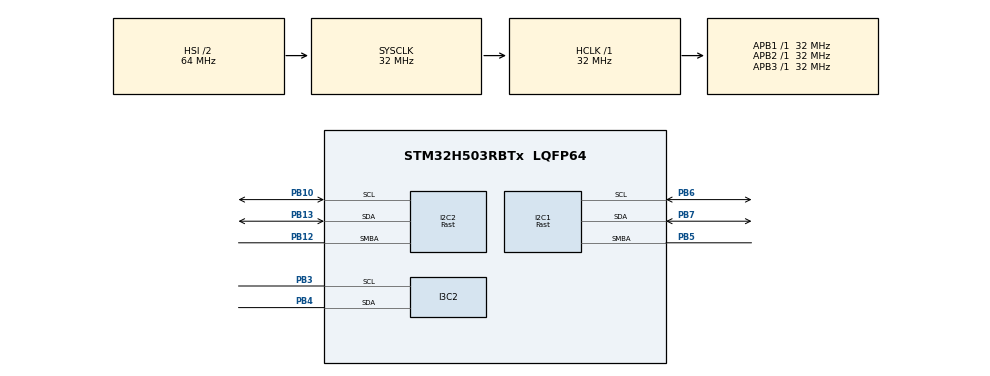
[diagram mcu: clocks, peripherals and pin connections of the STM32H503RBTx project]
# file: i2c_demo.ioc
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BOOTPATH.BootPathName=LEGACY
BOOTPATH.UserSelectedBootPath=LEGACY
I2C1.I2C_Speed_Mode=I2C_Fast
I2C1.Timeout=0x00008186
I2C1.Timing=0x00300F38
I2C2.I2C_Speed_Mode=I2C_Fast
I2C2.Timeout=0x00008186
I2C2.Timing=0x00300F38
I3C2.BusFreeDuration=484
I3C2.Register0=0x000f090f
I3C2.Register1=0x0006001e
I3C2.SCLI3CHighDuration=0x09
I3C2.SCLODLowDuration=0x0f
I3C2.SCLPPLowDuration=0x0f
I3C2.SCL_OD_Freq=1231
I3C2.SCL_PP_Freq=1231
I3C2.hexBusFreeDuration=0x06
I3C2.hexBusIdleDuration=0x1e
Mcu.Family=STM32H5
Mcu.Name=STM32H503RBTx
Mcu.Package=LQFP64
NVIC.I2C1_ER_IRQn=true\:0\:0\:false\:false\:true\:true\:true\:true
NVIC.I2C1_EV_IRQn=true\:0\:0\:false\:false\:true\:true\:true\:true
NVIC.I2C2_ER_IRQn=true\:0\:0\:false\:false\:true\:true\:true\:true
NVIC.I2C2_EV_IRQn=true\:0\:0\:false\:false\:true\:true\:true\:true
NVIC.PriorityGroup=NVIC_PRIORITYGROUP_4
PB10.Mode=SMBus-Alert-mode
PB10.Signal=I2C2_SCL
PB12.Mode=SMBus-Alert-mode
PB12.Signal=I2C2_SMBA
PB13.Mode=SMBus-Alert-mode
PB13.Signal=I2C2_SDA
PB3(JTDO/TRACESWO).Mode=Controller
PB3(JTDO/TRACESWO).Signal=I3C2_SCL
PB4(NJTRST).Mode=Controller
PB4(NJTRST).Signal=I3C2_SDA
PB5.Mode=SMBus-Alert-mode
PB5.Signal=I2C1_SMBA
PB6.Mode=SMBus-Alert-mode
PB6.Signal=I2C1_SCL
PB7.Mode=SMBus-Alert-mode
PB7.Signal=I2C1_SDA
ProjectManager.HeapSize=0x200
ProjectManager.StackSize=0x400
ProjectManager.TargetToolchain=CMake
RCC.ADCFreq_Value=32000000
RCC.AHBFreq_Value=32000000
RCC.APB1Freq_Value=32000000
RCC.APB1TimFreq_Value=32000000
RCC.APB2Freq_Value=32000000
RCC.APB2TimFreq_Value=32000000
RCC.APB3Freq_Value=32000000
RCC.CSI_VALUE=4000000
RCC.CortexFreq_Value=32000000
RCC.EPOD_VALUE=4000000
RCC.HCLKFreq_Value=32000000
RCC.HSE_VALUE=25000000
RCC.HSI48_VALUE=48000000
RCC.HSI_VALUE=64000000
RCC.LSE_VALUE=32768
RCC.LSIRC_VALUE=32000
RCC.SYSCLKFreq_VALUE=32000000
RCC.USBFreq_Value=48000000
RCC.VCOOutputFreq_Value=516000000
VP_BOOTPATH_VS_BOOTPATH.Mode=BP_Activate
VP_CORTEX_M33_NS_VS_Hclk.Mode=Hclk_Mode
VP_ICACHE_VS_ICACHE.Mode=DefaultMode
VP_MEMORYMAP_VS_MEMORYMAP.Mode=CurAppReg
VP_PWR_VS_LPOM.Mode=PowerOptimisation
VP_PWR_VS_SECSignals.Mode=Security/Privilege
board=custom

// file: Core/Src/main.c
/* USER CODE BEGIN Header */
/**
  ******************************************************************************
  * @file           : main.c
  * @brief          : Main program body
  ******************************************************************************
  * @attention
  *
  * Copyright (c) 2026 STMicroelectronics.
  * All rights reserved.
  *
  * This software is licensed under terms that can be found in the LICENSE file
  * in the root directory of this software component.
  * If no LICENSE file comes with this software, it is provided AS-IS.
  *
  ******************************************************************************
  */
/* USER CODE END Header */
#include "main.h"

/* USER CODE BEGIN Includes */
#include "INA238.h"
#include "INA260.h"
#include "stm32h5xx_hal.h"
#include "stm32h5xx_hal_dma.h"
#include <stdint.h>
/* USER CODE END Includes */

SMBUS_HandleTypeDef hsmbus1;
SMBUS_HandleTypeDef hsmbus2;

I3C_HandleTypeDef hi3c2;

void SystemClock_Config(void);
static void MX_GPIO_Init(void);
static void MX_I2C1_SMBUS_Init(void);
static void MX_I2C2_SMBUS_Init(void);
static void MX_I3C2_Init(void);
static void MX_ICACHE_Init(void);

/* USER CODE BEGIN 0 */

/* I2C1上INA238设备数量 */
#define I2C1_INA238_NUM 13
/* I2C2上INA238设备数量 */
#define I2C2_INA238_NUM 13

/* 数据缓冲区 */
// 存储INA260设备的数据
static INA260_DataTypeDef ina260_data;
// 存储I2C1和I2C2所有INA238设备的数据
static INA238_DataTypeDef ina238_data1[I2C1_INA238_NUM];
static INA238_DataTypeDef ina238_data2[I2C2_INA238_NUM];

/* 设备地址列表 */
const uint8_t i2c1_dev_addrs[I2C1_INA238_NUM] = {0x40, 0x41, 0x42, 0x43, 0x44,
						 0x45, 0x46, 0x47, 0x48, 0x49,
						 0x4A, 0x4B, 0x4C
						};
const uint8_t i2c2_dev_addrs[I2C2_INA238_NUM] = {0x40, 0x41, 0x42, 0x43, 0x45,
						 0x46, 0x47, 0x48, 0x49, 0x4A,
						 0x4B, 0x4C, 0x4D
						};

/* USER CODE END 0 */

int main(void)
{

	/* MCU Configuration--------------------------------------------------------*/

	/* Reset of all peripherals, Initializes the Flash interface and the Systick. */
	HAL_Init();

	/* Configure the system clock */
	SystemClock_Config();

	/* Initialize all configured peripherals */
	MX_GPIO_Init();
	MX_I2C1_SMBUS_Init();
	MX_I2C2_SMBUS_Init();
	MX_I3C2_Init();
	MX_ICACHE_Init();
	/* USER CODE BEGIN 2 */

	HAL_Delay(2);
	// INA260初始化
	INA260_Init(&hsmbus2, INA260_DEV_ADDR);

	// INA238初始化
	for (uint8_t i = 0; i < I2C1_INA238_NUM; i++) {
		/* 每个设备独立初始化 */
		INA238_Init(&hsmbus1, i2c1_dev_addrs[i], R_SHUNT, MAX_CURRENT);
	}

	for (uint8_t i = 0; i < I2C2_INA238_NUM; i++) {
		/* 每个设备独立初始化 */
		INA238_Init(&hsmbus2, i2c2_dev_addrs[i], R_SHUNT, MAX_CURRENT);
	}

	/* 等待配置生效 */
	HAL_Delay(5);

	/* USER CODE END 2 */

	/* Infinite loop */
	while (1) {

		/* USER CODE BEGIN 3 */

		/* 读取 I2C1 上的INA238设备 */
		INA238_ReadBusDevices(&hsmbus1, i2c1_dev_addrs, I2C1_INA238_NUM,
				      ina238_data1, R_SHUNT, MAX_CURRENT);
		/* 读取 I2C2 上的INA238设备 */
		INA238_ReadBusDevices(&hsmbus2, i2c2_dev_addrs, I2C2_INA238_NUM,
				      ina238_data2, R_SHUNT, MAX_CURRENT);
		/* 读取 INA260个设备 */
		INA260_ReadAllData(&hsmbus2, INA260_DEV_ADDR, &ina260_data);
		HAL_Delay(500);
	}

	/* USER CODE END 3 */
}

void SystemClock_Config(void)
{
	RCC_OscInitTypeDef RCC_OscInitStruct = {0};
	RCC_ClkInitTypeDef RCC_ClkInitStruct = {0};

	/** Configure the main internal regulator output voltage
	*/
	__HAL_PWR_VOLTAGESCALING_CONFIG(PWR_REGULATOR_VOLTAGE_SCALE3);

	while (!__HAL_PWR_GET_FLAG(PWR_FLAG_VOSRDY)) {}

	/** Initializes the RCC Oscillators according to the specified parameters
	* in the RCC_OscInitTypeDef structure.
	*/
	RCC_OscInitStruct.OscillatorType = RCC_OSCILLATORTYPE_HSI;
	RCC_OscInitStruct.HSIState = RCC_HSI_ON;
	RCC_OscInitStruct.HSIDiv = RCC_HSI_DIV2;
	RCC_OscInitStruct.HSICalibrationValue = RCC_HSICALIBRATION_DEFAULT;
	RCC_OscInitStruct.PLL.PLLState = RCC_PLL_NONE;

	if (HAL_RCC_OscConfig(&RCC_OscInitStruct) != HAL_OK)
		Error_Handler();

	/** Initializes the CPU, AHB and APB buses clocks
	*/
	RCC_ClkInitStruct.ClockType = RCC_CLOCKTYPE_HCLK | RCC_CLOCKTYPE_SYSCLK
				      | RCC_CLOCKTYPE_PCLK1 | RCC_CLOCKTYPE_PCLK2
				      | RCC_CLOCKTYPE_PCLK3;
	RCC_ClkInitStruct.SYSCLKSource = RCC_SYSCLKSOURCE_HSI;
	RCC_ClkInitStruct.AHBCLKDivider = RCC_SYSCLK_DIV1;
	RCC_ClkInitStruct.APB1CLKDivider = RCC_HCLK_DIV1;
	RCC_ClkInitStruct.APB2CLKDivider = RCC_HCLK_DIV1;
	RCC_ClkInitStruct.APB3CLKDivider = RCC_HCLK_DIV1;

	if (HAL_RCC_ClockConfig(&RCC_ClkInitStruct, FLASH_LATENCY_1) != HAL_OK)
		Error_Handler();

	/** Configure the programming delay
	*/
	__HAL_FLASH_SET_PROGRAM_DELAY(FLASH_PROGRAMMING_DELAY_0);
}

static void MX_I2C1_SMBUS_Init(void)
{

	hsmbus1.Instance = I2C1;
	hsmbus1.Init.Timing = 0x00300F38;
	hsmbus1.Init.AnalogFilter = SMBUS_ANALOGFILTER_ENABLE;
	hsmbus1.Init.OwnAddress1 = 2;
	hsmbus1.Init.AddressingMode = SMBUS_ADDRESSINGMODE_7BIT;
	hsmbus1.Init.DualAddressMode = SMBUS_DUALADDRESS_DISABLE;
	hsmbus1.Init.OwnAddress2 = 0;
	hsmbus1.Init.OwnAddress2Masks = SMBUS_OA2_NOMASK;
	hsmbus1.Init.GeneralCallMode = SMBUS_GENERALCALL_DISABLE;
	hsmbus1.Init.NoStretchMode = SMBUS_NOSTRETCH_DISABLE;
	hsmbus1.Init.PacketErrorCheckMode = SMBUS_PEC_DISABLE;
	hsmbus1.Init.PeripheralMode = SMBUS_PERIPHERAL_MODE_SMBUS_SLAVE;
	hsmbus1.Init.SMBusTimeout = 0x00008186;

	if (HAL_SMBUS_Init(&hsmbus1) != HAL_OK)
		Error_Handler();

	/** configuration Alert Mode
	*/
	if (HAL_SMBUS_EnableAlert_IT(&hsmbus1) != HAL_OK)
		Error_Handler();

}

static void MX_I2C2_SMBUS_Init(void)
{

	hsmbus2.Instance = I2C2;
	hsmbus2.Init.Timing = 0x00300F38;
	hsmbus2.Init.AnalogFilter = SMBUS_ANALOGFILTER_ENABLE;
	hsmbus2.Init.OwnAddress1 = 2;
	hsmbus2.Init.AddressingMode = SMBUS_ADDRESSINGMODE_7BIT;
	hsmbus2.Init.DualAddressMode = SMBUS_DUALADDRESS_DISABLE;
	hsmbus2.Init.OwnAddress2 = 0;
	hsmbus2.Init.OwnAddress2Masks = SMBUS_OA2_NOMASK;
	hsmbus2.Init.GeneralCallMode = SMBUS_GENERALCALL_DISABLE;
	hsmbus2.Init.NoStretchMode = SMBUS_NOSTRETCH_DISABLE;
	hsmbus2.Init.PacketErrorCheckMode = SMBUS_PEC_DISABLE;
	hsmbus2.Init.PeripheralMode = SMBUS_PERIPHERAL_MODE_SMBUS_SLAVE;
	hsmbus2.Init.SMBusTimeout = 0x00008186;

	if (HAL_SMBUS_Init(&hsmbus2) != HAL_OK)
		Error_Handler();

	/** configuration Alert Mode
	*/
	if (HAL_SMBUS_EnableAlert_IT(&hsmbus2) != HAL_OK)
		Error_Handler();

}

static void MX_I3C2_Init(void)
{

	I3C_FifoConfTypeDef sFifoConfig = {0};
	I3C_CtrlConfTypeDef sCtrlConfig = {0};

	hi3c2.Instance = I3C2;
	hi3c2.Mode = HAL_I3C_MODE_CONTROLLER;
	hi3c2.Init.CtrlBusCharacteristic.SDAHoldTime = HAL_I3C_SDA_HOLD_TIME_0_5;
	hi3c2.Init.CtrlBusCharacteristic.WaitTime = HAL_I3C_OWN_ACTIVITY_STATE_0;
	hi3c2.Init.CtrlBusCharacteristic.SCLPPLowDuration = 0x0f;
	hi3c2.Init.CtrlBusCharacteristic.SCLI3CHighDuration = 0x09;
	hi3c2.Init.CtrlBusCharacteristic.SCLODLowDuration = 0x0f;
	hi3c2.Init.CtrlBusCharacteristic.SCLI2CHighDuration = 0x00;
	hi3c2.Init.CtrlBusCharacteristic.BusFreeDuration = 0x06;
	hi3c2.Init.CtrlBusCharacteristic.BusIdleDuration = 0x1e;

	if (HAL_I3C_Init(&hi3c2) != HAL_OK)
		Error_Handler();

	/** Configure FIFO
	*/
	sFifoConfig.RxFifoThreshold = HAL_I3C_RXFIFO_THRESHOLD_1_4;
	sFifoConfig.TxFifoThreshold = HAL_I3C_TXFIFO_THRESHOLD_1_4;
	sFifoConfig.ControlFifo = HAL_I3C_CONTROLFIFO_DISABLE;
	sFifoConfig.StatusFifo = HAL_I3C_STATUSFIFO_DISABLE;

	if (HAL_I3C_SetConfigFifo(&hi3c2, &sFifoConfig) != HAL_OK)
		Error_Handler();

	/** Configure controller
	*/
	sCtrlConfig.DynamicAddr = 0;
	sCtrlConfig.StallTime = 0x00;
	sCtrlConfig.HotJoinAllowed = DISABLE;
	sCtrlConfig.ACKStallState = DISABLE;
	sCtrlConfig.CCCStallState = DISABLE;
	sCtrlConfig.TxStallState = DISABLE;
	sCtrlConfig.RxStallState = DISABLE;
	sCtrlConfig.HighKeeperSDA = DISABLE;

	if (HAL_I3C_Ctrl_Config(&hi3c2, &sCtrlConfig) != HAL_OK)
		Error_Handler();

}

static void MX_ICACHE_Init(void)
{

	/** Enable instruction cache (default 2-ways set associative cache)
	*/
	if (HAL_ICACHE_Enable() != HAL_OK)
		Error_Handler();

}

static void MX_GPIO_Init(void)
{

	/* GPIO Ports Clock Enable */
	__HAL_RCC_GPIOB_CLK_ENABLE();

}

void Error_Handler(void)
{
	__disable_irq();
	while (1) {
	}
}
